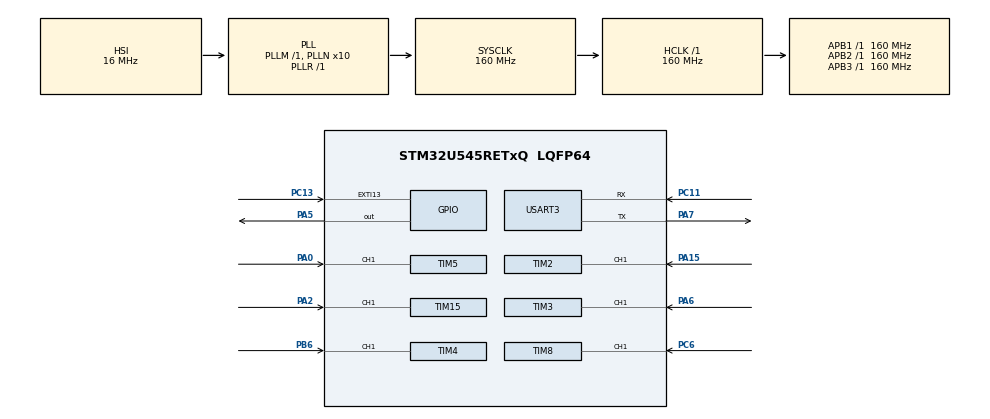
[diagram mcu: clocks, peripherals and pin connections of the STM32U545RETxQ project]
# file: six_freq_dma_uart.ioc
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CORTEX_M33_NS.userName=CORTEX_M33
GPDMA1.CIRCULARMODE_GPDMACH0=ENABLE
GPDMA1.CIRCULARMODE_GPDMACH1=ENABLE
GPDMA1.CIRCULARMODE_GPDMACH2=ENABLE
GPDMA1.CIRCULARMODE_GPDMACH3=ENABLE
GPDMA1.CIRCULARMODE_GPDMACH4=ENABLE
GPDMA1.CIRCULARMODE_GPDMACH5=ENABLE
GPDMA1.DESTDATAWIDTH_GPDMACH0=DMA_DEST_DATAWIDTH_HALFWORD
GPDMA1.DESTDATAWIDTH_GPDMACH1=DMA_DEST_DATAWIDTH_HALFWORD
GPDMA1.DESTDATAWIDTH_GPDMACH2=DMA_DEST_DATAWIDTH_HALFWORD
GPDMA1.DESTDATAWIDTH_GPDMACH3=DMA_DEST_DATAWIDTH_HALFWORD
GPDMA1.DESTDATAWIDTH_GPDMACH4=DMA_DEST_DATAWIDTH_HALFWORD
GPDMA1.DESTDATAWIDTH_GPDMACH5=DMA_DEST_DATAWIDTH_HALFWORD
GPDMA1.DESTINC_GPDMACH0=DMA_DINC_INCREMENTED
GPDMA1.DESTINC_GPDMACH1=DMA_DINC_INCREMENTED
GPDMA1.DESTINC_GPDMACH2=DMA_DINC_INCREMENTED
GPDMA1.DESTINC_GPDMACH3=DMA_DINC_INCREMENTED
GPDMA1.DESTINC_GPDMACH4=DMA_DINC_INCREMENTED
GPDMA1.DESTINC_GPDMACH5=DMA_DINC_INCREMENTED
GPDMA1.IPHANDLE_GPDMACH0-SIMPLEREQUEST_GPDMACH0=__NULL
GPDMA1.IPHANDLE_GPDMACH1-SIMPLEREQUEST_GPDMACH1=__NULL
GPDMA1.IPHANDLE_GPDMACH2-SIMPLEREQUEST_GPDMACH2=__NULL
GPDMA1.IPHANDLE_GPDMACH3-SIMPLEREQUEST_GPDMACH3=__NULL
GPDMA1.IPHANDLE_GPDMACH4-SIMPLEREQUEST_GPDMACH4=__NULL
GPDMA1.IPHANDLE_GPDMACH5-SIMPLEREQUEST_GPDMACH5=__NULL
GPDMA1.REQUEST_GPDMACH0=GPDMA1_REQUEST_TIM2_CH1
GPDMA1.REQUEST_GPDMACH1=GPDMA1_REQUEST_TIM3_CH1
GPDMA1.REQUEST_GPDMACH2=GPDMA1_REQUEST_TIM4_CH1
GPDMA1.REQUEST_GPDMACH3=GPDMA1_REQUEST_TIM5_CH1
GPDMA1.REQUEST_GPDMACH4=GPDMA1_REQUEST_TIM8_CH1
GPDMA1.REQUEST_GPDMACH5=GPDMA1_REQUEST_TIM15_CH1
GPDMA1.SRCDATAWIDTH_GPDMACH0=DMA_SRC_DATAWIDTH_HALFWORD
GPDMA1.SRCDATAWIDTH_GPDMACH1=DMA_SRC_DATAWIDTH_HALFWORD
GPDMA1.SRCDATAWIDTH_GPDMACH2=DMA_SRC_DATAWIDTH_HALFWORD
GPDMA1.SRCDATAWIDTH_GPDMACH3=DMA_SRC_DATAWIDTH_HALFWORD
GPDMA1.SRCDATAWIDTH_GPDMACH4=DMA_SRC_DATAWIDTH_HALFWORD
GPDMA1.SRCDATAWIDTH_GPDMACH5=DMA_SRC_DATAWIDTH_HALFWORD
Mcu.Family=STM32U5
Mcu.Name=STM32U545RETxQ
Mcu.Package=LQFP64
NUCLEO-U545RE-Q.BUTTON=1
NUCLEO-U545RE-Q.LD2=true
NUCLEO-U545RE-Q.VCP=true
NVIC.EXTI13_IRQn=true\:0\:0\:false\:false\:true\:false\:true\:true
NVIC.GPDMA1_Channel0_IRQn=true\:0\:0\:false\:false\:true\:false\:true\:true
NVIC.GPDMA1_Channel1_IRQn=true\:0\:0\:false\:false\:true\:false\:true\:true
NVIC.GPDMA1_Channel2_IRQn=true\:0\:0\:false\:false\:true\:false\:true\:true
NVIC.GPDMA1_Channel3_IRQn=true\:0\:0\:false\:false\:true\:false\:true\:true
NVIC.GPDMA1_Channel4_IRQn=true\:0\:0\:false\:false\:true\:false\:true\:true
NVIC.GPDMA1_Channel5_IRQn=true\:0\:0\:false\:false\:true\:false\:true\:true
NVIC.PriorityGroup=NVIC_PRIORITYGROUP_4
PA0.GPIO_PuPd=GPIO_PULLDOWN
PA0.Signal=S_TIM5_CH1
PA15\ (JTDI).GPIO_PuPd=GPIO_PULLDOWN
PA15\ (JTDI).Signal=S_TIM2_CH1
PA2.GPIO_PuPd=GPIO_PULLDOWN
PA2.Signal=S_TIM15_CH1
PA5.Signal=GPIO_Output
PA6.GPIO_PuPd=GPIO_PULLDOWN
PA6.Signal=S_TIM3_CH1
PA7.Mode=Asynchronous
PA7.Signal=USART3_TX
PB6.GPIO_PuPd=GPIO_PULLDOWN
PB6.Signal=S_TIM4_CH1
PC11.Mode=Asynchronous
PC11.Signal=USART3_RX
PC13.Signal=GPXTI13
PC6.GPIO_PuPd=GPIO_PULLDOWN
PC6.Signal=S_TIM8_CH1
PWR.PowerMode=PWR_SMPS_SUPPLY
ProjectManager.HeapSize=0x200
ProjectManager.StackSize=0x400
ProjectManager.TargetToolchain=STM32CubeIDE
RCC.ADCFreq_Value=16000000
RCC.AHBFreq_Value=160000000
RCC.APB1Freq_Value=160000000
RCC.APB1TimFreq_Value=160000000
RCC.APB2Freq_Value=160000000
RCC.APB2TimFreq_Value=160000000
RCC.APB3Freq_Value=160000000
RCC.CortexFreq_Value=160000000
RCC.DACCLockSelectionVirtual=RCC_DAC1CLKSOURCE_LSI
RCC.DACCLockSelectionVirtualString=RCC_DAC1CLKSOURCE_LSI
RCC.EPOD_VALUE=16000000
RCC.HCLKFreq_Value=160000000
RCC.HSE_VALUE=16000000
RCC.HSI48_VALUE=48000000
RCC.HSI_VALUE=16000000
RCC.LSE_VALUE=32768
RCC.LSIDIV_VALUE=32000
RCC.MSI_VALUE=4000000
RCC.PLL1R=1
RCC.PLLFRACN=0
RCC.PLLN=10
RCC.PLLSourceVirtual=RCC_PLLSOURCE_HSI
RCC.SYSCLKFreq_VALUE=160000000
RCC.SYSCLKSource=RCC_SYSCLKSOURCE_PLLCLK
RCC.USBFreq_Value=48000000
RCC.VCOOutputFreq_Value=160000000
SH.S_TIM15_CH1.0=TIM15_CH1,TriggerSource_TI1FP1
SH.S_TIM15_CH1.1=TIM15_CH1,Input_Capture1_from_TI1
SH.S_TIM2_CH1.0=TIM2_CH1,TriggerSource_TI1FP1
SH.S_TIM2_CH1.1=TIM2_CH1,Input_Capture1_from_TI1
SH.S_TIM3_CH1.0=TIM3_CH1,TriggerSource_TI1FP1
SH.S_TIM3_CH1.1=TIM3_CH1,Input_Capture1_from_TI1
SH.S_TIM4_CH1.0=TIM4_CH1,TriggerSource_TI1FP1
SH.S_TIM4_CH1.1=TIM4_CH1,Input_Capture1_from_TI1
SH.S_TIM5_CH1.0=TIM5_CH1,TriggerSource_TI1FP1
SH.S_TIM8_CH1.0=TIM8_CH1,TriggerSource_TI1FP1
SH.S_TIM8_CH1.1=TIM8_CH1,Input_Capture1_from_TI1
TIM15.Channel-Input_Capture1_from_TI1=TIM_CHANNEL_1
TIM2.Channel-Input_Capture1_from_TI1=TIM_CHANNEL_1
TIM3.Channel-Input_Capture1_from_TI1=TIM_CHANNEL_1
TIM4.Channel-Input_Capture1_from_TI1=TIM_CHANNEL_1
TIM8.Channel-Input_Capture1_from_TI1=TIM_CHANNEL_1
USART3.VirtualMode-Asynchronous=VM_ASYNC
VP_GPDMA1_VS_GPDMACH0.Mode=SIMPLEREQUEST_GPDMACH0
VP_GPDMA1_VS_GPDMACH1.Mode=SIMPLEREQUEST_GPDMACH1
VP_GPDMA1_VS_GPDMACH2.Mode=SIMPLEREQUEST_GPDMACH2
VP_GPDMA1_VS_GPDMACH3.Mode=SIMPLEREQUEST_GPDMACH3
VP_GPDMA1_VS_GPDMACH4.Mode=SIMPLEREQUEST_GPDMACH4
VP_GPDMA1_VS_GPDMACH5.Mode=SIMPLEREQUEST_GPDMACH5
VP_ICACHE_VS_ICACHE.Mode=DirectMappedCache
VP_LPBAMQUEUE_VS_QUEUE.Mode=QUEUEMODE
VP_LPBAM_VS_SIG1.Mode=SmartRun
VP_LPBAM_VS_SIG4.Mode=LPDMA1
VP_MEMORYMAP_VS_MEMORYMAP.Mode=CurAppReg
VP_NUCLEO-U545RE-Q_VS_BSP_COMMON.Mode=COMMON
VP_PWR_VS_LPOM.Mode=PowerOptimisation
VP_PWR_VS_SECSignals.Mode=Security/Privilege
VP_TIM15_VS_ClockSourceINT.Mode=Internal
VP_TIM15_VS_ControllerModeReset.Mode=Reset Mode
VP_TIM2_VS_ClockSourceINT.Mode=Internal
VP_TIM2_VS_ControllerModeReset.Mode=Reset Mode
VP_TIM3_VS_ClockSourceINT.Mode=Internal
VP_TIM3_VS_ControllerModeReset.Mode=Reset Mode
VP_TIM4_VS_ClockSourceINT.Mode=Internal
VP_TIM4_VS_ControllerModeReset.Mode=Reset Mode
VP_TIM5_VS_ClockSourceINT.Mode=Internal
VP_TIM5_VS_ControllerModeReset.Mode=Reset Mode
VP_TIM8_VS_ClockSourceINT.Mode=Internal
VP_TIM8_VS_ControllerModeReset.Mode=Reset Mode
board=NUCLEO-U545RE-Q

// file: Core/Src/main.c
/* USER CODE BEGIN Header */
/**
  ******************************************************************************
  * @file           : main.c
  * @brief          : Main program body
  ******************************************************************************
  * @attention
  *
  * Copyright (c) 2025 STMicroelectronics.
  * All rights reserved.
  *
  * This software is licensed under terms that can be found in the LICENSE file
  * in the root directory of this software component.
  * If no LICENSE file comes with this software, it is provided AS-IS.
  *
  ******************************************************************************
  */
/* USER CODE END Header */
#include "main.h"

/* USER CODE BEGIN Includes */
#include<stdio.h>
#include<string.h>
/* USER CODE END Includes */

COM_InitTypeDef BspCOMInit;

TIM_HandleTypeDef htim2;
TIM_HandleTypeDef htim3;
TIM_HandleTypeDef htim4;
TIM_HandleTypeDef htim5;
TIM_HandleTypeDef htim8;
TIM_HandleTypeDef htim15;
DMA_NodeTypeDef Node_GPDMA1_Channel0;
DMA_QListTypeDef List_GPDMA1_Channel0;
DMA_HandleTypeDef handle_GPDMA1_Channel0;
DMA_NodeTypeDef Node_GPDMA1_Channel1;
DMA_QListTypeDef List_GPDMA1_Channel1;
DMA_HandleTypeDef handle_GPDMA1_Channel1;
DMA_NodeTypeDef Node_GPDMA1_Channel2;
DMA_QListTypeDef List_GPDMA1_Channel2;
DMA_HandleTypeDef handle_GPDMA1_Channel2;
DMA_NodeTypeDef Node_GPDMA1_Channel3;
DMA_QListTypeDef List_GPDMA1_Channel3;
DMA_HandleTypeDef handle_GPDMA1_Channel3;
DMA_NodeTypeDef Node_GPDMA1_Channel4;
DMA_QListTypeDef List_GPDMA1_Channel4;
DMA_HandleTypeDef handle_GPDMA1_Channel4;
DMA_NodeTypeDef Node_GPDMA1_Channel5;
DMA_QListTypeDef List_GPDMA1_Channel5;
DMA_HandleTypeDef handle_GPDMA1_Channel5;

UART_HandleTypeDef huart3;

/* USER CODE BEGIN PV */
uint16_t Channels[6][8] = {0};  // 2D array to hold all channel data
uint8_t txBuffer[15];           // Buffer to hold the data to be sent
/* USER CODE END PV */

void SystemClock_Config(void);
static void SystemPower_Config(void);
static void MX_GPIO_Init(void);
static void MX_GPDMA1_Init(void);
static void MX_ICACHE_Init(void);
static void MX_TIM2_Init(void);
static void MX_TIM3_Init(void);
static void MX_TIM4_Init(void);
static void MX_TIM5_Init(void);
static void MX_TIM8_Init(void);
static void MX_TIM15_Init(void);
static void MX_USART3_UART_Init(void);

/* USER CODE BEGIN 0 */
void sendCapacitanceData() {
    // Access the first value of each channel
    uint16_t values[6] = {
        Channels[0][0],  // First value of Channel_0
        Channels[1][0],  // First value of Channel_1
        Channels[2][0],  // First value of Channel_2
        Channels[3][0],  // First value of Channel_3
        Channels[4][0],  // First value of Channel_4
        Channels[5][0]   // First value of Channel_5
    };

    // Debug: Print the values before sending
    printf("Sending: %d, %d, %d, %d, %d, %d\n",
           values[0], values[1], values[2],
           values[3], values[4], values[5]);

    txBuffer[0] = 0xAA;  // Start byte

    // Copy uint16_t values into the buffer as uint8_t bytes
    for (int i = 0; i < 6; i++) {
        txBuffer[1 + 2 * i] = (values[i] >> 8) & 0xFF;  // High byte
        txBuffer[2 + 2 * i] = values[i] & 0xFF;         // Low byte
    }

    txBuffer[13] = 0x55;  // End byte
    txBuffer[14] = 0x00;  // Optional: Checksum (e.g., XOR of all data bytes)

    // Send the data over UART
    HAL_UART_Transmit(&huart3, txBuffer, sizeof(txBuffer), HAL_MAX_DELAY);
}
/* USER CODE END 0 */

int main(void)
{

  /* MCU Configuration--------------------------------------------------------*/

  /* Reset of all peripherals, Initializes the Flash interface and the Systick. */
  HAL_Init();

  /* Configure the System Power */
  SystemPower_Config();

  /* Configure the system clock */
  SystemClock_Config();

  /* Initialize all configured peripherals */
  MX_GPIO_Init();
  MX_GPDMA1_Init();
  MX_ICACHE_Init();
  MX_TIM2_Init();
  MX_TIM3_Init();
  MX_TIM4_Init();
  MX_TIM5_Init();
  MX_TIM8_Init();
  MX_TIM15_Init();
  MX_USART3_UART_Init();
  /* USER CODE BEGIN 2 */

#define TIMER_CLK_HZ 160000000

if (HAL_TIM_Base_Start(&htim2) != HAL_OK){

	  Error_Handler();
}

if (HAL_TIM_Base_Start(&htim3) != HAL_OK){

	  Error_Handler();
}

if (HAL_TIM_Base_Start(&htim4) != HAL_OK){

	  Error_Handler();
}

if (HAL_TIM_Base_Start(&htim5) != HAL_OK){

	  Error_Handler();
}

if (HAL_TIM_Base_Start(&htim8) != HAL_OK){

	  Error_Handler();
}

if (HAL_TIM_Base_Start(&htim15) != HAL_OK){

	  Error_Handler();
}

  HAL_TIM_IC_Start_DMA(&htim2, TIM_CHANNEL_1, (uint32_t*)&Channels[0], 8);  // Channel_0
  HAL_TIM_IC_Start_DMA(&htim3, TIM_CHANNEL_1, (uint32_t*)&Channels[1], 8);  // Channel_1
  HAL_TIM_IC_Start_DMA(&htim4, TIM_CHANNEL_1, (uint32_t*)&Channels[2], 8);  // Channel_2 (TIM4 - PB6)
  HAL_TIM_IC_Start_DMA(&htim5, TIM_CHANNEL_1, (uint32_t*)&Channels[3], 8);  // Channel_3 (TIM5 - PA0)
  HAL_TIM_IC_Start_DMA(&htim8, TIM_CHANNEL_1, (uint32_t*)&Channels[4], 8);  // Channel_4
  HAL_TIM_IC_Start_DMA(&htim15, TIM_CHANNEL_1, (uint32_t*)&Channels[5], 8); // Channel_5 (TIM15 - PA2)
  /* USER CODE END 2 */

  /* Initialize led */
  BSP_LED_Init(LED_GREEN);

  /* Initialize USER push-button, will be used to trigger an interrupt each time it's pressed.*/
  BSP_PB_Init(BUTTON_USER, BUTTON_MODE_EXTI);

  /* Initialize COM1 port (115200, 8 bits (7-bit data + 1 stop bit), no parity */
  BspCOMInit.BaudRate   = 115200;
  BspCOMInit.WordLength = COM_WORDLENGTH_8B;
  BspCOMInit.StopBits   = COM_STOPBITS_1;
  BspCOMInit.Parity     = COM_PARITY_NONE;
  BspCOMInit.HwFlowCtl  = COM_HWCONTROL_NONE;
  if (BSP_COM_Init(COM1, &BspCOMInit) != BSP_ERROR_NONE)
  {
    Error_Handler();
  }

  /* Infinite loop */
  while (1)
  {

    /* USER CODE BEGIN 3 */
	  sendCapacitanceData();
	  HAL_Delay(500);
  }
  /* USER CODE END 3 */
}

void SystemClock_Config(void)
{
  RCC_OscInitTypeDef RCC_OscInitStruct = {0};
  RCC_ClkInitTypeDef RCC_ClkInitStruct = {0};

  /** Configure the main internal regulator output voltage
  */
  if (HAL_PWREx_ControlVoltageScaling(PWR_REGULATOR_VOLTAGE_SCALE1) != HAL_OK)
  {
    Error_Handler();
  }

  /** Initializes the CPU, AHB and APB buses clocks
  */
  RCC_OscInitStruct.OscillatorType = RCC_OSCILLATORTYPE_HSI;
  RCC_OscInitStruct.HSIState = RCC_HSI_ON;
  RCC_OscInitStruct.HSICalibrationValue = RCC_HSICALIBRATION_DEFAULT;
  RCC_OscInitStruct.PLL.PLLState = RCC_PLL_ON;
  RCC_OscInitStruct.PLL.PLLSource = RCC_PLLSOURCE_HSI;
  RCC_OscInitStruct.PLL.PLLMBOOST = RCC_PLLMBOOST_DIV1;
  RCC_OscInitStruct.PLL.PLLM = 1;
  RCC_OscInitStruct.PLL.PLLN = 10;
  RCC_OscInitStruct.PLL.PLLP = 2;
  RCC_OscInitStruct.PLL.PLLQ = 2;
  RCC_OscInitStruct.PLL.PLLR = 1;
  RCC_OscInitStruct.PLL.PLLRGE = RCC_PLLVCIRANGE_1;
  RCC_OscInitStruct.PLL.PLLFRACN = 0;
  if (HAL_RCC_OscConfig(&RCC_OscInitStruct) != HAL_OK)
  {
    Error_Handler();
  }

  /** Initializes the CPU, AHB and APB buses clocks
  */
  RCC_ClkInitStruct.ClockType = RCC_CLOCKTYPE_HCLK|RCC_CLOCKTYPE_SYSCLK
                              |RCC_CLOCKTYPE_PCLK1|RCC_CLOCKTYPE_PCLK2
                              |RCC_CLOCKTYPE_PCLK3;
  RCC_ClkInitStruct.SYSCLKSource = RCC_SYSCLKSOURCE_PLLCLK;
  RCC_ClkInitStruct.AHBCLKDivider = RCC_SYSCLK_DIV1;
  RCC_ClkInitStruct.APB1CLKDivider = RCC_HCLK_DIV1;
  RCC_ClkInitStruct.APB2CLKDivider = RCC_HCLK_DIV1;
  RCC_ClkInitStruct.APB3CLKDivider = RCC_HCLK_DIV1;

  if (HAL_RCC_ClockConfig(&RCC_ClkInitStruct, FLASH_LATENCY_4) != HAL_OK)
  {
    Error_Handler();
  }
}

/**
  * @brief Power Configuration
  * @retval None
  */
static void SystemPower_Config(void)
{

  /*
   * Switch to SMPS regulator instead of LDO
   */
  if (HAL_PWREx_ConfigSupply(PWR_SMPS_SUPPLY) != HAL_OK)
  {
    Error_Handler();
  }
}

static void MX_GPDMA1_Init(void)
{

  /* Peripheral clock enable */
  __HAL_RCC_GPDMA1_CLK_ENABLE();

  /* GPDMA1 interrupt Init */
    HAL_NVIC_SetPriority(GPDMA1_Channel0_IRQn, 0, 0);
    HAL_NVIC_EnableIRQ(GPDMA1_Channel0_IRQn);
    HAL_NVIC_SetPriority(GPDMA1_Channel1_IRQn, 0, 0);
    HAL_NVIC_EnableIRQ(GPDMA1_Channel1_IRQn);
    HAL_NVIC_SetPriority(GPDMA1_Channel2_IRQn, 0, 0);
    HAL_NVIC_EnableIRQ(GPDMA1_Channel2_IRQn);
    HAL_NVIC_SetPriority(GPDMA1_Channel3_IRQn, 0, 0);
    HAL_NVIC_EnableIRQ(GPDMA1_Channel3_IRQn);
    HAL_NVIC_SetPriority(GPDMA1_Channel4_IRQn, 0, 0);
    HAL_NVIC_EnableIRQ(GPDMA1_Channel4_IRQn);
    HAL_NVIC_SetPriority(GPDMA1_Channel5_IRQn, 0, 0);
    HAL_NVIC_EnableIRQ(GPDMA1_Channel5_IRQn);

}

static void MX_ICACHE_Init(void)
{

  /** Enable instruction cache in 1-way (direct mapped cache)
  */
  if (HAL_ICACHE_ConfigAssociativityMode(ICACHE_1WAY) != HAL_OK)
  {
    Error_Handler();
  }
  if (HAL_ICACHE_Enable() != HAL_OK)
  {
    Error_Handler();
  }

}

static void MX_TIM2_Init(void)
{

  TIM_ClockConfigTypeDef sClockSourceConfig = {0};
  TIM_SlaveConfigTypeDef sSlaveConfig = {0};
  TIM_MasterConfigTypeDef sMasterConfig = {0};
  TIM_IC_InitTypeDef sConfigIC = {0};

  htim2.Instance = TIM2;
  htim2.Init.Prescaler = 0;
  htim2.Init.CounterMode = TIM_COUNTERMODE_UP;
  htim2.Init.Period = 4294967295;
  htim2.Init.ClockDivision = TIM_CLOCKDIVISION_DIV1;
  htim2.Init.AutoReloadPreload = TIM_AUTORELOAD_PRELOAD_DISABLE;
  if (HAL_TIM_Base_Init(&htim2) != HAL_OK)
  {
    Error_Handler();
  }
  sClockSourceConfig.ClockSource = TIM_CLOCKSOURCE_INTERNAL;
  if (HAL_TIM_ConfigClockSource(&htim2, &sClockSourceConfig) != HAL_OK)
  {
    Error_Handler();
  }
  if (HAL_TIM_IC_Init(&htim2) != HAL_OK)
  {
    Error_Handler();
  }
  sSlaveConfig.SlaveMode = TIM_SLAVEMODE_RESET;
  sSlaveConfig.InputTrigger = TIM_TS_TI1FP1;
  sSlaveConfig.TriggerPolarity = TIM_INPUTCHANNELPOLARITY_RISING;
  sSlaveConfig.TriggerFilter = 0;
  if (HAL_TIM_SlaveConfigSynchro(&htim2, &sSlaveConfig) != HAL_OK)
  {
    Error_Handler();
  }
  sMasterConfig.MasterOutputTrigger = TIM_TRGO_RESET;
  sMasterConfig.MasterSlaveMode = TIM_MASTERSLAVEMODE_DISABLE;
  if (HAL_TIMEx_MasterConfigSynchronization(&htim2, &sMasterConfig) != HAL_OK)
  {
    Error_Handler();
  }
  sConfigIC.ICPolarity = TIM_INPUTCHANNELPOLARITY_RISING;
  sConfigIC.ICSelection = TIM_ICSELECTION_DIRECTTI;
  sConfigIC.ICPrescaler = TIM_ICPSC_DIV1;
  sConfigIC.ICFilter = 0;
  if (HAL_TIM_IC_ConfigChannel(&htim2, &sConfigIC, TIM_CHANNEL_1) != HAL_OK)
  {
    Error_Handler();
  }

}

static void MX_TIM3_Init(void)
{

  TIM_ClockConfigTypeDef sClockSourceConfig = {0};
  TIM_SlaveConfigTypeDef sSlaveConfig = {0};
  TIM_MasterConfigTypeDef sMasterConfig = {0};
  TIM_IC_InitTypeDef sConfigIC = {0};

  htim3.Instance = TIM3;
  htim3.Init.Prescaler = 0;
  htim3.Init.CounterMode = TIM_COUNTERMODE_UP;
  htim3.Init.Period = 4294967295;
  htim3.Init.ClockDivision = TIM_CLOCKDIVISION_DIV1;
  htim3.Init.AutoReloadPreload = TIM_AUTORELOAD_PRELOAD_DISABLE;
  if (HAL_TIM_Base_Init(&htim3) != HAL_OK)
  {
    Error_Handler();
  }
  sClockSourceConfig.ClockSource = TIM_CLOCKSOURCE_INTERNAL;
  if (HAL_TIM_ConfigClockSource(&htim3, &sClockSourceConfig) != HAL_OK)
  {
    Error_Handler();
  }
  if (HAL_TIM_IC_Init(&htim3) != HAL_OK)
  {
    Error_Handler();
  }
  sSlaveConfig.SlaveMode = TIM_SLAVEMODE_RESET;
  sSlaveConfig.InputTrigger = TIM_TS_TI1FP1;
  sSlaveConfig.TriggerPolarity = TIM_INPUTCHANNELPOLARITY_RISING;
  sSlaveConfig.TriggerFilter = 0;
  if (HAL_TIM_SlaveConfigSynchro(&htim3, &sSlaveConfig) != HAL_OK)
  {
    Error_Handler();
  }
  sMasterConfig.MasterOutputTrigger = TIM_TRGO_RESET;
  sMasterConfig.MasterSlaveMode = TIM_MASTERSLAVEMODE_DISABLE;
  if (HAL_TIMEx_MasterConfigSynchronization(&htim3, &sMasterConfig) != HAL_OK)
  {
    Error_Handler();
  }
  sConfigIC.ICPolarity = TIM_INPUTCHANNELPOLARITY_RISING;
  sConfigIC.ICSelection = TIM_ICSELECTION_DIRECTTI;
  sConfigIC.ICPrescaler = TIM_ICPSC_DIV1;
  sConfigIC.ICFilter = 0;
  if (HAL_TIM_IC_ConfigChannel(&htim3, &sConfigIC, TIM_CHANNEL_1) != HAL_OK)
  {
    Error_Handler();
  }

}

static void MX_TIM4_Init(void)
{

  TIM_ClockConfigTypeDef sClockSourceConfig = {0};
  TIM_SlaveConfigTypeDef sSlaveConfig = {0};
  TIM_MasterConfigTypeDef sMasterConfig = {0};
  TIM_IC_InitTypeDef sConfigIC = {0};

  htim4.Instance = TIM4;
  htim4.Init.Prescaler = 0;
  htim4.Init.CounterMode = TIM_COUNTERMODE_UP;
  htim4.Init.Period = 4294967295;
  htim4.Init.ClockDivision = TIM_CLOCKDIVISION_DIV1;
  htim4.Init.AutoReloadPreload = TIM_AUTORELOAD_PRELOAD_DISABLE;
  if (HAL_TIM_Base_Init(&htim4) != HAL_OK)
  {
    Error_Handler();
  }
  sClockSourceConfig.ClockSource = TIM_CLOCKSOURCE_INTERNAL;
  if (HAL_TIM_ConfigClockSource(&htim4, &sClockSourceConfig) != HAL_OK)
  {
    Error_Handler();
  }
  if (HAL_TIM_IC_Init(&htim4) != HAL_OK)
  {
    Error_Handler();
  }
  sSlaveConfig.SlaveMode = TIM_SLAVEMODE_RESET;
  sSlaveConfig.InputTrigger = TIM_TS_TI1FP1;
  sSlaveConfig.TriggerPolarity = TIM_INPUTCHANNELPOLARITY_RISING;
  sSlaveConfig.TriggerFilter = 0;
  if (HAL_TIM_SlaveConfigSynchro(&htim4, &sSlaveConfig) != HAL_OK)
  {
    Error_Handler();
  }
  sMasterConfig.MasterOutputTrigger = TIM_TRGO_RESET;
  sMasterConfig.MasterSlaveMode = TIM_MASTERSLAVEMODE_DISABLE;
  if (HAL_TIMEx_MasterConfigSynchronization(&htim4, &sMasterConfig) != HAL_OK)
  {
    Error_Handler();
  }
  sConfigIC.ICPolarity = TIM_INPUTCHANNELPOLARITY_RISING;
  sConfigIC.ICSelection = TIM_ICSELECTION_DIRECTTI;
  sConfigIC.ICPrescaler = TIM_ICPSC_DIV1;
  sConfigIC.ICFilter = 0;
  if (HAL_TIM_IC_ConfigChannel(&htim4, &sConfigIC, TIM_CHANNEL_1) != HAL_OK)
  {
    Error_Handler();
  }

}

static void MX_TIM5_Init(void)
{

  TIM_ClockConfigTypeDef sClockSourceConfig = {0};
  TIM_SlaveConfigTypeDef sSlaveConfig = {0};
  TIM_MasterConfigTypeDef sMasterConfig = {0};

  htim5.Instance = TIM5;
  htim5.Init.Prescaler = 0;
  htim5.Init.CounterMode = TIM_COUNTERMODE_UP;
  htim5.Init.Period = 4294967295;
  htim5.Init.ClockDivision = TIM_CLOCKDIVISION_DIV1;
  htim5.Init.AutoReloadPreload = TIM_AUTORELOAD_PRELOAD_DISABLE;
  if (HAL_TIM_Base_Init(&htim5) != HAL_OK)
  {
    Error_Handler();
  }
  sClockSourceConfig.ClockSource = TIM_CLOCKSOURCE_INTERNAL;
  if (HAL_TIM_ConfigClockSource(&htim5, &sClockSourceConfig) != HAL_OK)
  {
    Error_Handler();
  }
  sSlaveConfig.SlaveMode = TIM_SLAVEMODE_RESET;
  sSlaveConfig.InputTrigger = TIM_TS_TI1FP1;
  sSlaveConfig.TriggerPolarity = TIM_TRIGGERPOLARITY_RISING;
  sSlaveConfig.TriggerFilter = 0;
  if (HAL_TIM_SlaveConfigSynchro(&htim5, &sSlaveConfig) != HAL_OK)
  {
    Error_Handler();
  }
  sMasterConfig.MasterOutputTrigger = TIM_TRGO_RESET;
  sMasterConfig.MasterSlaveMode = TIM_MASTERSLAVEMODE_DISABLE;
  if (HAL_TIMEx_MasterConfigSynchronization(&htim5, &sMasterConfig) != HAL_OK)
  {
    Error_Handler();
  }

}

static void MX_TIM8_Init(void)
{

  TIM_ClockConfigTypeDef sClockSourceConfig = {0};
  TIM_SlaveConfigTypeDef sSlaveConfig = {0};
  TIM_MasterConfigTypeDef sMasterConfig = {0};
  TIM_IC_InitTypeDef sConfigIC = {0};

  htim8.Instance = TIM8;
  htim8.Init.Prescaler = 0;
  htim8.Init.CounterMode = TIM_COUNTERMODE_UP;
  htim8.Init.Period = 65535;
  htim8.Init.ClockDivision = TIM_CLOCKDIVISION_DIV1;
  htim8.Init.RepetitionCounter = 0;
  htim8.Init.AutoReloadPreload = TIM_AUTORELOAD_PRELOAD_DISABLE;
  if (HAL_TIM_Base_Init(&htim8) != HAL_OK)
  {
    Error_Handler();
  }
  sClockSourceConfig.ClockSource = TIM_CLOCKSOURCE_INTERNAL;
  if (HAL_TIM_ConfigClockSource(&htim8, &sClockSourceConfig) != HAL_OK)
  {
    Error_Handler();
  }
  if (HAL_TIM_IC_Init(&htim8) != HAL_OK)
  {
    Error_Handler();
  }
  sSlaveConfig.SlaveMode = TIM_SLAVEMODE_RESET;
  sSlaveConfig.InputTrigger = TIM_TS_TI1FP1;
  sSlaveConfig.TriggerPolarity = TIM_INPUTCHANNELPOLARITY_RISING;
  sSlaveConfig.TriggerFilter = 0;
  if (HAL_TIM_SlaveConfigSynchro(&htim8, &sSlaveConfig) != HAL_OK)
  {
    Error_Handler();
  }
  sMasterConfig.MasterOutputTrigger = TIM_TRGO_RESET;
  sMasterConfig.MasterOutputTrigger2 = TIM_TRGO2_RESET;
  sMasterConfig.MasterSlaveMode = TIM_MASTERSLAVEMODE_DISABLE;
  if (HAL_TIMEx_MasterConfigSynchronization(&htim8, &sMasterConfig) != HAL_OK)
  {
    Error_Handler();
  }
  sConfigIC.ICPolarity = TIM_INPUTCHANNELPOLARITY_RISING;
  sConfigIC.ICSelection = TIM_ICSELECTION_DIRECTTI;
  sConfigIC.ICPrescaler = TIM_ICPSC_DIV1;
  sConfigIC.ICFilter = 0;
  if (HAL_TIM_IC_ConfigChannel(&htim8, &sConfigIC, TIM_CHANNEL_1) != HAL_OK)
  {
    Error_Handler();
  }

}

static void MX_TIM15_Init(void)
{

  TIM_ClockConfigTypeDef sClockSourceConfig = {0};
  TIM_SlaveConfigTypeDef sSlaveConfig = {0};
  TIM_MasterConfigTypeDef sMasterConfig = {0};
  TIM_IC_InitTypeDef sConfigIC = {0};

  htim15.Instance = TIM15;
  htim15.Init.Prescaler = 0;
  htim15.Init.CounterMode = TIM_COUNTERMODE_UP;
  htim15.Init.Period = 65535;
  htim15.Init.ClockDivision = TIM_CLOCKDIVISION_DIV1;
  htim15.Init.RepetitionCounter = 0;
  htim15.Init.AutoReloadPreload = TIM_AUTORELOAD_PRELOAD_DISABLE;
  if (HAL_TIM_Base_Init(&htim15) != HAL_OK)
  {
    Error_Handler();
  }
  sClockSourceConfig.ClockSource = TIM_CLOCKSOURCE_INTERNAL;
  if (HAL_TIM_ConfigClockSource(&htim15, &sClockSourceConfig) != HAL_OK)
  {
    Error_Handler();
  }
  if (HAL_TIM_IC_Init(&htim15) != HAL_OK)
  {
    Error_Handler();
  }
  sSlaveConfig.SlaveMode = TIM_SLAVEMODE_RESET;
  sSlaveConfig.InputTrigger = TIM_TS_TI1FP1;
  sSlaveConfig.TriggerPolarity = TIM_INPUTCHANNELPOLARITY_RISING;
  sSlaveConfig.TriggerFilter = 0;
  if (HAL_TIM_SlaveConfigSynchro(&htim15, &sSlaveConfig) != HAL_OK)
  {
    Error_Handler();
  }
  sMasterConfig.MasterOutputTrigger = TIM_TRGO_RESET;
  sMasterConfig.MasterSlaveMode = TIM_MASTERSLAVEMODE_DISABLE;
  if (HAL_TIMEx_MasterConfigSynchronization(&htim15, &sMasterConfig) != HAL_OK)
  {
    Error_Handler();
  }
  sConfigIC.ICPolarity = TIM_INPUTCHANNELPOLARITY_RISING;
  sConfigIC.ICSelection = TIM_ICSELECTION_DIRECTTI;
  sConfigIC.ICPrescaler = TIM_ICPSC_DIV1;
  sConfigIC.ICFilter = 0;
  if (HAL_TIM_IC_ConfigChannel(&htim15, &sConfigIC, TIM_CHANNEL_1) != HAL_OK)
  {
    Error_Handler();
  }

}

static void MX_USART3_UART_Init(void)
{

  huart3.Instance = USART3;
  huart3.Init.BaudRate = 115200;
  huart3.Init.WordLength = UART_WORDLENGTH_8B;
  huart3.Init.StopBits = UART_STOPBITS_1;
  huart3.Init.Parity = UART_PARITY_NONE;
  huart3.Init.Mode = UART_MODE_TX_RX;
  huart3.Init.HwFlowCtl = UART_HWCONTROL_NONE;
  huart3.Init.OverSampling = UART_OVERSAMPLING_16;
  huart3.Init.OneBitSampling = UART_ONE_BIT_SAMPLE_DISABLE;
  huart3.Init.ClockPrescaler = UART_PRESCALER_DIV1;
  huart3.AdvancedInit.AdvFeatureInit = UART_ADVFEATURE_NO_INIT;
  if (HAL_UART_Init(&huart3) != HAL_OK)
  {
    Error_Handler();
  }
  if (HAL_UARTEx_SetTxFifoThreshold(&huart3, UART_TXFIFO_THRESHOLD_1_8) != HAL_OK)
  {
    Error_Handler();
  }
  if (HAL_UARTEx_SetRxFifoThreshold(&huart3, UART_RXFIFO_THRESHOLD_1_8) != HAL_OK)
  {
    Error_Handler();
  }
  if (HAL_UARTEx_DisableFifoMode(&huart3) != HAL_OK)
  {
    Error_Handler();
  }

}

static void MX_GPIO_Init(void)
{

  /* GPIO Ports Clock Enable */
  __HAL_RCC_GPIOA_CLK_ENABLE();
  __HAL_RCC_GPIOC_CLK_ENABLE();
  __HAL_RCC_GPIOB_CLK_ENABLE();

}

void Error_Handler(void)
{
  __disable_irq();
  while (1)
  {
  }
}
